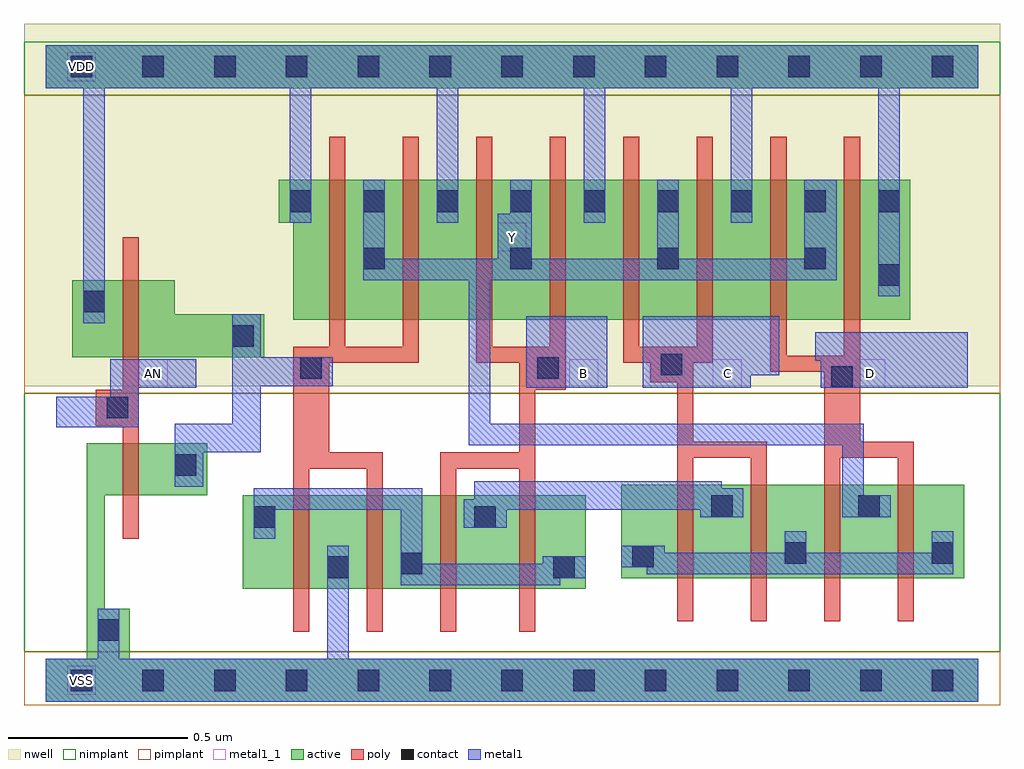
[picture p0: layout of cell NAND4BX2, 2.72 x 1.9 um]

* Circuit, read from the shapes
.subckt NAND4BX2 AN B C D VDD VSS Y
M1 n1 AN VSS VSS nfet w=0.145u l=0.045u
M2 VSS n1 n2 VSS nfet w=0.26u l=0.045u m=2
M3 n3 B n2 VSS nfet w=0.26u l=0.045u m=2
M4 n3 C n4 VSS nfet w=0.26u l=0.045u m=2
M5 Y D n4 VSS nfet w=0.26u l=0.045u m=2
M6 n1 AN VDD VDD pfet w=0.215u l=0.045u
M7 Y n1 VDD VDD pfet w=0.39u l=0.045u m=2
M8 Y B VDD VDD pfet w=0.39u l=0.045u m=2
M9 Y C VDD VDD pfet w=0.39u l=0.045u m=2
M10 Y D VDD VDD pfet w=0.39u l=0.045u m=2
.ends

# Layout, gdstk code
import gdstk
lib = gdstk.Library(unit=1e-6, precision=5e-10)
def R(c, l, rs):  # rectangles x0, y0, x1, y1
    for r in rs: c.add(gdstk.rectangle(r[:2], r[2:], *l))
def A(c, l, x, y, w, h, nx, ny, dx, dy):  # array of equal rectangles
    R(c, l, [(x+i*dx, y+j*dy, x+i*dx+w, y+j*dy+h) for i in range(nx) for j in range(ny)])
def P(c, l, *ps):  # polygons
    for p in ps: c.add(gdstk.Polygon(p, *l))
active = (1, 0)
nwell = (2, 0)
poly = (3, 0)
nimplant = (4, 0)
pimplant = (5, 0)
contact = (6, 0)
metal1 = (7, 0)
metal1_1 = (7, 1)

nand4bx2 = lib.new_cell('NAND4BX2')
R(nand4bx2, active, [(0.55,0.255,1.505,0.515), (1.605,0.285,2.56,0.545), (0,1.65,2.6,1.77)])
P(nand4bx2, active, [(0.65,1.395),(2.41,1.395),(2.41,1.005),(0.69,1.005),(0.69,1.275),(0.65,1.275)],
  [(0.075,1.115),(0.36,1.115),(0.36,1.02),(0.61,1.02),(0.61,0.9),(0.075,0.9)],
  [(0.115,0.66),(0.45,0.66),(0.45,0.515),(0.165,0.515),(0.165,0.2),(0.235,0.2),(0.235,0.06),(2.6,0.06),(2.6,-0.06),(0,-0.06),(0,0.06),(0.115,0.06)])
R(nand4bx2, nwell, [(-0.06,0.82,2.66,1.83)])
P(nand4bx2, poly, [(0.79,1.515),(0.835,1.515),(0.835,0.93),(0.995,0.93),(0.995,1.515),(1.04,1.515),(1.04,0.885),(0.79,0.885),(0.79,0.635),(0.94,0.635),(0.94,0.135),(0.895,0.135),(0.895,0.59),(0.735,0.59),(0.735,0.135),(0.69,0.135),(0.69,0.93),(0.79,0.93)],
  [(1.2,1.515),(1.245,1.515),(1.245,0.93),(1.405,0.93),(1.405,1.515),(1.45,1.515),(1.45,0.81),(1.365,0.81),(1.365,0.135),(1.32,0.135),(1.32,0.59),(1.145,0.59),(1.145,0.135),(1.1,0.135),(1.1,0.635),(1.32,0.635),(1.32,0.885),(1.2,0.885)],
  [(1.61,1.515),(1.655,1.515),(1.655,0.93),(1.815,0.93),(1.815,1.515),(1.86,1.515),(1.86,0.885),(1.805,0.885),(1.805,0.665),(2.01,0.665),(2.01,0.165),(1.965,0.165),(1.965,0.62),(1.805,0.62),(1.805,0.165),(1.76,0.165),(1.76,0.83),(1.685,0.83),(1.685,0.885),(1.61,0.885)],
  [(2.02,1.515),(2.065,1.515),(2.065,0.905),(2.225,0.905),(2.225,1.515),(2.27,1.515),(2.27,0.665),(2.42,0.665),(2.42,0.165),(2.375,0.165),(2.375,0.62),(2.215,0.62),(2.215,0.165),(2.17,0.165),(2.17,0.86),(2.02,0.86)],
  [(0.215,1.235),(0.26,1.235),(0.26,0.395),(0.215,0.395),(0.215,0.71),(0.14,0.71),(0.14,0.81),(0.215,0.81)])
R(nand4bx2, nimplant, [(-0.06,0.08,2.66,0.8), (-0.06,1.63,2.66,1.78)])
R(nand4bx2, pimplant, [(-0.06,-0.07,2.66,0.08), (-0.06,0.8,2.66,1.63)])
A(nand4bx2, contact, 0.07, -0.03, 0.06, 0.06, 13, 2, 0.2, 1.71)
A(nand4bx2, contact, 0.885, 1.145, 0.06, 0.06, 4, 1, 0.41, 0)
A(nand4bx2, contact, 0.68, 1.305, 0.06, 0.06, 9, 1, 0.205, 0)
R(nand4bx2, contact, [(0.145,0.11,0.205,0.17), (0.785,0.285,0.845,0.345), (1.415,0.285,1.475,0.345), (0.99,0.295,1.05,0.355), (1.635,0.315,1.695,0.375), (2.06,0.325,2.12,0.385), (2.47,0.325,2.53,0.385), (0.58,0.425,0.64,0.485), (1.195,0.425,1.255,0.485), (1.855,0.455,1.915,0.515), (2.265,0.455,2.325,0.515), (0.36,0.57,0.42,0.63), (0.17,0.73,0.23,0.79), (2.19,0.815,2.25,0.875), (0.71,0.84,0.77,0.9), (1.37,0.84,1.43,0.9), (1.715,0.85,1.775,0.91), (0.52,0.93,0.58,0.99), (0.105,1.025,0.165,1.085), (2.32,1.1,2.38,1.16)])
R(nand4bx2, metal1, [(1.34,0.815,1.565,1.015)])
P(nand4bx2, metal1, [(0,1.77),(2.6,1.77),(2.6,1.65),(2.38,1.65),(2.38,1.07),(2.32,1.07),(2.32,1.65),(1.97,1.65),(1.97,1.275),(1.91,1.275),(1.91,1.65),(1.56,1.65),(1.56,1.275),(1.5,1.275),(1.5,1.65),(1.15,1.65),(1.15,1.275),(1.09,1.275),(1.09,1.65),(0.74,1.65),(0.74,1.275),(0.68,1.275),(0.68,1.65),(0.165,1.65),(0.165,0.995),(0.105,0.995),(0.105,1.65),(0,1.65)],
  [(0.885,1.395),(0.945,1.395),(0.945,1.175),(1.26,1.175),(1.26,1.3),(1.295,1.3),(1.295,1.395),(1.355,1.395),(1.355,1.175),(1.705,1.175),(1.705,1.395),(1.765,1.395),(1.765,1.175),(2.115,1.175),(2.115,1.395),(2.205,1.395),(2.205,1.115),(1.24,1.115),(1.24,0.715),(2.28,0.715),(2.28,0.515),(2.355,0.515),(2.355,0.455),(2.22,0.455),(2.22,0.655),(1.18,0.655),(1.18,1.115),(0.885,1.115)],
  [(0.52,1.02),(0.6,1.02),(0.6,0.9),(0.8,0.9),(0.8,0.82),(0.6,0.82),(0.6,0.635),(0.44,0.635),(0.44,0.54),(0.36,0.54),(0.36,0.715),(0.52,0.715)],
  [(0.18,0.895),(0.42,0.895),(0.42,0.815),(0.26,0.815),(0.26,0.705),(0.03,0.705),(0.03,0.79),(0.18,0.79)],
  [(1.665,1.015),(2.045,1.015),(2.045,0.85),(1.965,0.85),(1.965,0.815),(1.665,0.815)],
  [(2.145,0.97),(2.57,0.97),(2.57,0.815),(2.16,0.815),(2.16,0.89),(2.145,0.89)],
  [(0.58,0.535),(1.05,0.535),(1.05,0.325),(1.385,0.325),(1.385,0.345),(1.505,0.345),(1.505,0.285),(1.435,0.285),(1.435,0.265),(0.99,0.265),(0.99,0.475),(0.64,0.475),(0.64,0.395),(0.58,0.395)],
  [(1.195,0.555),(1.885,0.555),(1.885,0.535),(1.945,0.535),(1.945,0.455),(1.825,0.455),(1.825,0.475),(1.285,0.475),(1.285,0.425),(1.165,0.425),(1.165,0.505),(1.195,0.505)],
  [(0.145,0.2),(0.205,0.2),(0.205,0.06),(0.785,0.06),(0.785,0.375),(0.845,0.375),(0.845,0.06),(2.6,0.06),(2.6,-0.06),(0,-0.06),(0,0.06),(0.145,0.06)],
  [(1.605,0.375),(1.725,0.375),(1.725,0.355),(2.06,0.355),(2.06,0.415),(2.12,0.415),(2.12,0.355),(2.47,0.355),(2.47,0.415),(2.53,0.415),(2.53,0.295),(1.675,0.295),(1.675,0.315),(1.605,0.315)])
A(nand4bx2, metal1_1, 1.46, 0.815, 0.08, 0.08, 3, 1, 0.4, 0)
R(nand4bx2, metal1_1, [(0.06,-0.04,0.14,0.04), (0.26,0.815,0.34,0.895), (1.26,1.195,1.34,1.275), (0.06,1.67,0.14,1.75)])
nand4bx2.add(gdstk.Label('Y', (1.3,1.235), layer=7, texttype=1))
nand4bx2.add(gdstk.Label('AN', (0.3,0.855), layer=7, texttype=1))
nand4bx2.add(gdstk.Label('B', (1.5,0.855), layer=7, texttype=1))
nand4bx2.add(gdstk.Label('C', (1.9,0.855), layer=7, texttype=1))
nand4bx2.add(gdstk.Label('D', (2.3,0.855), layer=7, texttype=1))
nand4bx2.add(gdstk.Label('VDD', (0.1,1.71), layer=7, texttype=1))
nand4bx2.add(gdstk.Label('VSS', (0.1,0), layer=7, texttype=1))
nand4bx2.add(gdstk.Label('NAND4BX2', (0,0), layer=63, texttype=0))

lib.write_gds('NAND4BX2.gds')
